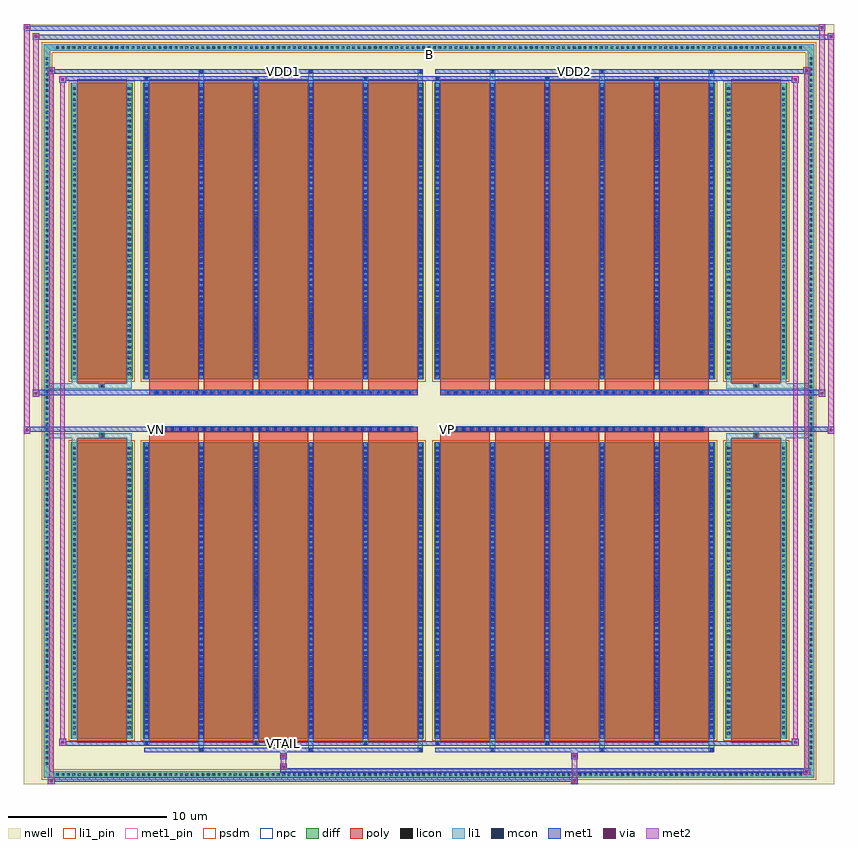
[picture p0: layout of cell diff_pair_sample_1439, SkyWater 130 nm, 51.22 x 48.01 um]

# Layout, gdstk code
import gdstk
lib = gdstk.Library(unit=1e-6, precision=5e-09)
def R(c, l, rs):  # rectangles x0, y0, x1, y1
    for r in rs: c.add(gdstk.rectangle(r[:2], r[2:], *l))
def A(c, l, x, y, w, h, nx, ny, dx, dy):  # array of equal rectangles
    R(c, l, [(x+i*dx, y+j*dy, x+i*dx+w, y+j*dy+h) for i in range(nx) for j in range(ny)])
def P(c, l, *ps):  # polygons
    for p in ps: c.add(gdstk.Polygon(p, *l))
nwell = (64, 20)
diff = (65, 20)
poly = (66, 20)
licon = (66, 44)
li1_pin = (67, 16)
li1 = (67, 20)
mcon = (67, 44)
met1_pin = (68, 16)
met1 = (68, 20)
via = (68, 44)
met2 = (69, 20)
psdm = (94, 20)
npc = (95, 20)

diff_pair_sample_1439 = lib.new_cell('diff_pair_sample_1439')
R(diff_pair_sample_1439, nwell, [(-25.61,-23.57,25.61,24.44), (-22.93,-21.76,-0.01,-0.8), (0.01,-21.76,22.93,-0.8), (-22.93,0.8,-0.01,21.76), (0.01,0.8,22.93,21.76)])
A(diff_pair_sample_1439, diff, -23.665, -23.17, 0.41, 0.41, 139, 2, 0.34, 45.93)
A(diff_pair_sample_1439, diff, -24.34, -22.475, 0.41, 0.41, 1, 132, 0, 0.34)
A(diff_pair_sample_1439, diff, 23.93, -22.475, 0.41, 0.41, 1, 132, 0, 0.34)
R(diff_pair_sample_1439, diff, [(-23.665,-23.17,23.665,-22.76), (-24.34,-22.475,-23.93,22.475), (23.93,-22.475,24.34,22.475), (-22.62,-20.715,-18.71,-1.985), (-18.07,-20.715,-0.32,-1.985), (0.32,-20.715,18.07,-1.985), (18.71,-20.715,22.62,-1.985), (-22.62,1.985,-18.71,20.715), (-18.07,1.985,-0.32,20.715), (0.32,1.985,18.07,20.715), (18.71,1.985,22.62,20.715), (-23.665,22.76,23.665,23.17)])
P(diff_pair_sample_1439, diff, [(24.34,23.17),(-24.34,23.17),(-24.34,-22.76),(-23.93,-22.76),(-23.93,22.76),(23.93,22.76),(23.93,-22.76),(-23.93,-22.76),(-24.34,-22.76),(-24.34,-23.17),(24.34,-23.17)])
A(diff_pair_sample_1439, poly, -17.68, -20.965, 3.13, 19.23, 5, 2, 3.46, 22.7)
A(diff_pair_sample_1439, poly, 0.71, -20.965, 3.13, 19.23, 5, 2, 3.46, 22.7)
A(diff_pair_sample_1439, poly, -17.68, -1.735, 3.13, 0.405, 5, 2, 3.46, 3.065)
A(diff_pair_sample_1439, poly, 0.71, -1.735, 3.13, 0.405, 5, 2, 3.46, 3.065)
A(diff_pair_sample_1439, poly, -17.36, -1.33, 0.33, 0.33, 33, 2, 0.5, 2.33)
A(diff_pair_sample_1439, poly, 1.03, -1.33, 0.33, 0.33, 33, 2, 0.5, 2.33)
R(diff_pair_sample_1439, poly, [(-22.23,-20.965,-19.1,-1.735), (19.1,-20.965,22.23,-1.735), (-20.83,-1.735,-20.5,-1.405), (-20.83,-1.735,-20.5,-1.405), (20.5,-1.735,20.83,-1.405), (20.5,-1.735,20.83,-1.405), (-17.68,-1.33,-0.71,-1), (0.71,-1.33,17.68,-1), (-17.68,1,-0.71,1.33), (0.71,1,17.68,1.33), (-20.83,1.405,-20.5,1.735), (-20.83,1.405,-20.5,1.735), (20.5,1.405,20.83,1.735), (20.5,1.405,20.83,1.735), (-22.23,1.735,-19.1,20.965), (19.1,1.735,22.23,20.965)])
A(diff_pair_sample_1439, licon, -23.545, -23.05, 0.17, 0.17, 139, 2, 0.34, 45.93)
A(diff_pair_sample_1439, licon, -24.22, -22.355, 0.17, 0.17, 1, 132, 0, 0.34)
A(diff_pair_sample_1439, licon, 24.05, -22.355, 0.17, 0.17, 1, 132, 0, 0.34)
A(diff_pair_sample_1439, licon, -22.48, -20.445, 0.17, 0.17, 1, 54, 0, 0.34)
A(diff_pair_sample_1439, licon, -19.02, -20.445, 0.17, 0.17, 1, 54, 0, 0.34)
A(diff_pair_sample_1439, licon, -17.93, -20.445, 0.17, 0.17, 6, 54, 3.46, 0.34)
A(diff_pair_sample_1439, licon, 0.46, -20.445, 0.17, 0.17, 6, 54, 3.46, 0.34)
A(diff_pair_sample_1439, licon, 18.85, -20.445, 0.17, 0.17, 1, 54, 0, 0.34)
A(diff_pair_sample_1439, licon, 22.31, -20.445, 0.17, 0.17, 1, 54, 0, 0.34)
A(diff_pair_sample_1439, licon, -17.28, -1.25, 0.17, 0.17, 33, 2, 0.5, 2.33)
A(diff_pair_sample_1439, licon, 1.11, -1.25, 0.17, 0.17, 33, 2, 0.5, 2.33)
A(diff_pair_sample_1439, licon, -22.48, 2.255, 0.17, 0.17, 1, 54, 0, 0.34)
A(diff_pair_sample_1439, licon, -19.02, 2.255, 0.17, 0.17, 1, 54, 0, 0.34)
A(diff_pair_sample_1439, licon, -17.93, 2.255, 0.17, 0.17, 6, 54, 3.46, 0.34)
A(diff_pair_sample_1439, licon, 0.46, 2.255, 0.17, 0.17, 6, 54, 3.46, 0.34)
A(diff_pair_sample_1439, licon, 18.85, 2.255, 0.17, 0.17, 1, 54, 0, 0.34)
A(diff_pair_sample_1439, licon, 22.31, 2.255, 0.17, 0.17, 1, 54, 0, 0.34)
R(diff_pair_sample_1439, licon, [(-20.75,-1.655,-20.58,-1.485), (20.58,-1.655,20.75,-1.485), (-20.75,1.485,-20.58,1.655), (20.58,1.485,20.75,1.655)])
R(diff_pair_sample_1439, li1_pin, [(-0.25,22.26,0.25,22.76)])
A(diff_pair_sample_1439, li1, -23.625, -23.13, 0.33, 0.33, 139, 2, 0.34, 45.93)
A(diff_pair_sample_1439, li1, -24.3, -22.435, 0.33, 0.33, 1, 132, 0, 0.34)
A(diff_pair_sample_1439, li1, 23.97, -22.435, 0.33, 0.33, 1, 132, 0, 0.34)
A(diff_pair_sample_1439, li1, -14.55, -21.52, 0.33, 0.805, 3, 2, 6.92, 42.235)
A(diff_pair_sample_1439, li1, -14.47, -21.52, 0.17, 0.17, 3, 2, 6.92, 42.87)
A(diff_pair_sample_1439, li1, 3.84, -21.52, 0.33, 0.805, 3, 2, 6.92, 42.235)
A(diff_pair_sample_1439, li1, 3.92, -21.52, 0.17, 0.17, 3, 2, 6.92, 42.87)
A(diff_pair_sample_1439, li1, -18.01, -21.09, 0.33, 0.375, 3, 2, 6.92, 41.805)
A(diff_pair_sample_1439, li1, -17.93, -21.09, 0.17, 0.17, 3, 2, 6.92, 42.01)
A(diff_pair_sample_1439, li1, 0.38, -21.09, 0.33, 0.375, 3, 2, 6.92, 41.805)
A(diff_pair_sample_1439, li1, 0.46, -21.09, 0.17, 0.17, 3, 2, 6.92, 42.01)
A(diff_pair_sample_1439, li1, -18.01, -20.715, 0.33, 18.73, 6, 2, 3.46, 22.7)
A(diff_pair_sample_1439, li1, 0.38, -20.715, 0.33, 18.73, 6, 2, 3.46, 22.7)
A(diff_pair_sample_1439, li1, -22.56, -20.525, 0.33, 0.33, 1, 54, 0, 0.34)
A(diff_pair_sample_1439, li1, -19.1, -20.525, 0.33, 0.33, 1, 54, 0, 0.34)
A(diff_pair_sample_1439, li1, -18.01, -20.525, 0.33, 0.33, 6, 54, 3.46, 0.34)
A(diff_pair_sample_1439, li1, 0.38, -20.525, 0.33, 0.33, 6, 54, 3.46, 0.34)
A(diff_pair_sample_1439, li1, 18.77, -20.525, 0.33, 0.33, 1, 54, 0, 0.34)
A(diff_pair_sample_1439, li1, 22.23, -20.525, 0.33, 0.33, 1, 54, 0, 0.34)
A(diff_pair_sample_1439, li1, -17.93, -20.435, 0.17, 0.17, 6, 51, 3.46, 0.36)
A(diff_pair_sample_1439, li1, -17.93, -20.435, 0.17, 18.17, 6, 2, 3.46, 22.7)
A(diff_pair_sample_1439, li1, 0.46, -20.435, 0.17, 0.17, 6, 51, 3.46, 0.36)
A(diff_pair_sample_1439, li1, 0.46, -20.435, 0.17, 18.17, 6, 2, 3.46, 22.7)
A(diff_pair_sample_1439, li1, -17.36, -1.33, 0.33, 0.33, 33, 2, 0.5, 2.33)
A(diff_pair_sample_1439, li1, 1.03, -1.33, 0.33, 0.33, 33, 2, 0.5, 2.33)
A(diff_pair_sample_1439, li1, -22.56, 2.175, 0.33, 0.33, 1, 54, 0, 0.34)
A(diff_pair_sample_1439, li1, -19.1, 2.175, 0.33, 0.33, 1, 54, 0, 0.34)
A(diff_pair_sample_1439, li1, -18.01, 2.175, 0.33, 0.33, 6, 54, 3.46, 0.34)
A(diff_pair_sample_1439, li1, 0.38, 2.175, 0.33, 0.33, 6, 54, 3.46, 0.34)
A(diff_pair_sample_1439, li1, 18.77, 2.175, 0.33, 0.33, 1, 54, 0, 0.34)
A(diff_pair_sample_1439, li1, 22.23, 2.175, 0.33, 0.33, 1, 54, 0, 0.34)
A(diff_pair_sample_1439, li1, -17.93, 2.265, 0.17, 0.17, 6, 51, 3.46, 0.36)
A(diff_pair_sample_1439, li1, 0.46, 2.265, 0.17, 0.17, 6, 51, 3.46, 0.36)
R(diff_pair_sample_1439, li1, [(-24.34,-23.17,-23.93,-22.76), (-24.34,-23.17,-23.93,-22.76), (-23.93,-23.17,23.93,-22.76), (23.93,-23.17,24.34,-22.76), (23.93,-23.17,24.34,-22.76), (-24.34,-22.76,-23.93,22.76), (23.93,-22.76,24.34,22.76), (-22.56,-20.715,-22.23,-1.985), (-19.1,-20.715,-18.77,-1.985), (18.77,-20.715,19.1,-1.985), (22.23,-20.715,22.56,-1.985), (-22.56,-1.985,-22.23,-1.405), (-19.1,-1.985,-18.77,-1.405), (18.77,-1.985,19.1,-1.405), (22.23,-1.985,22.56,-1.405), (-24.34,-1.735,-20.83,-1.405), (-22.56,-1.735,-20.83,-1.405), (-20.83,-1.735,-20.5,-1.405), (-20.5,-1.735,-18.77,-1.405), (18.77,-1.735,20.5,-1.405), (20.5,-1.735,20.83,-1.405), (20.5,-1.735,24.34,-1.405), (20.83,-1.735,22.56,-1.405), (-24.34,1.405,-20.83,1.735), (-22.56,1.405,-20.83,1.735), (-22.56,1.405,-22.23,1.985), (-20.83,1.405,-20.5,1.735), (-20.5,1.405,-18.77,1.735), (-19.1,1.405,-18.77,1.985), (18.77,1.405,20.5,1.735), (18.77,1.405,19.1,1.985), (20.5,1.405,20.83,1.735), (20.5,1.405,24.34,1.735), (20.83,1.405,22.56,1.735), (22.23,1.405,22.56,1.985), (-22.56,1.985,-22.23,20.715), (-19.1,1.985,-18.77,20.715), (18.77,1.985,19.1,20.715), (22.23,1.985,22.56,20.715), (-24.34,22.76,-23.93,23.17), (-24.34,22.76,-23.93,23.17), (-23.93,22.76,23.93,23.17), (23.93,22.76,24.34,23.17), (23.93,22.76,24.34,23.17)])
A(diff_pair_sample_1439, mcon, -14.47, -21.52, 0.17, 0.17, 3, 2, 6.92, 42.87)
A(diff_pair_sample_1439, mcon, 3.92, -21.52, 0.17, 0.17, 3, 2, 6.92, 42.87)
A(diff_pair_sample_1439, mcon, -17.93, -21.09, 0.17, 0.17, 3, 2, 6.92, 42.01)
A(diff_pair_sample_1439, mcon, 0.46, -21.09, 0.17, 0.17, 3, 2, 6.92, 42.01)
A(diff_pair_sample_1439, mcon, -17.93, -20.435, 0.17, 0.17, 6, 51, 3.46, 0.36)
A(diff_pair_sample_1439, mcon, 0.46, -20.435, 0.17, 0.17, 6, 51, 3.46, 0.36)
A(diff_pair_sample_1439, mcon, -17.28, -1.25, 0.17, 0.17, 33, 2, 0.5, 2.33)
A(diff_pair_sample_1439, mcon, 1.11, -1.25, 0.17, 0.17, 33, 2, 0.5, 2.33)
A(diff_pair_sample_1439, mcon, -17.93, 2.265, 0.17, 0.17, 6, 51, 3.46, 0.36)
A(diff_pair_sample_1439, mcon, 0.46, 2.265, 0.17, 0.17, 6, 51, 3.46, 0.36)
R(diff_pair_sample_1439, met1_pin, [(-9.33,-21.13,-9.06,-20.86), (-17.33,-1.29,-17.06,-1.02), (1.06,-1.29,1.33,-1.02), (-9.33,21.31,-9.06,21.58), (9.06,21.31,9.33,21.58)])
A(diff_pair_sample_1439, met1, -14.53, -21.58, 0.29, 0.29, 3, 2, 6.92, 42.87)
A(diff_pair_sample_1439, met1, 3.86, -21.58, 0.29, 0.29, 3, 2, 6.92, 42.87)
A(diff_pair_sample_1439, met1, -17.99, -21.15, 0.29, 0.29, 3, 2, 6.92, 42.01)
A(diff_pair_sample_1439, met1, 0.4, -21.15, 0.29, 0.29, 3, 2, 6.92, 42.01)
A(diff_pair_sample_1439, met1, -17.99, -20.715, 0.29, 18.73, 6, 2, 3.46, 22.7)
A(diff_pair_sample_1439, met1, 0.4, -20.715, 0.29, 18.73, 6, 2, 3.46, 22.7)
A(diff_pair_sample_1439, met1, -17.99, -20.495, 0.29, 0.29, 6, 51, 3.46, 0.36)
A(diff_pair_sample_1439, met1, 0.4, -20.495, 0.29, 0.29, 6, 51, 3.46, 0.36)
A(diff_pair_sample_1439, met1, -17.34, -1.31, 0.29, 0.29, 33, 2, 0.5, 2.33)
A(diff_pair_sample_1439, met1, 1.05, -1.31, 0.29, 0.29, 33, 2, 0.5, 2.33)
A(diff_pair_sample_1439, met1, -17.99, 2.205, 0.29, 0.29, 6, 51, 3.46, 0.36)
A(diff_pair_sample_1439, met1, 0.4, 2.205, 0.29, 0.29, 6, 51, 3.46, 0.36)
R(diff_pair_sample_1439, met1, [(-24.07,-23.57,-23.64,-23.14), (8.98,-23.57,9.41,-23.14), (-24.07,-23.43,9.41,-23.14), (23.64,-23,24.07,-22.57), (-9.41,-22.86,24.07,-22.57), (-9.41,-22.72,-8.98,-22.29), (-9.41,-22.01,-8.98,-21.58), (8.98,-22.01,9.41,-21.58), (-17.99,-21.58,-0.4,-21.29), (0.4,-21.58,17.99,-21.29), (-23.36,-21.15,-22.93,-20.72), (-23.36,-21.15,-17.99,-20.86), (-17.99,-21.15,-0.4,-20.86), (-0.4,-21.15,0.4,-20.86), (0.4,-21.15,17.99,-20.86), (17.99,-21.15,23.36,-20.86), (22.93,-21.15,23.36,-20.72), (-25.61,-1.43,-25.18,-1), (25.18,-1.43,25.61,-1), (-25.61,-1.33,-0.71,-1), (-17.68,-1.33,-0.71,-1), (0.71,-1.33,17.68,-1), (0.71,-1.33,25.61,-1), (-25.04,0.9,-24.61,1.33), (24.61,0.9,25.04,1.33), (-25.04,1,-17.68,1.33), (-17.68,1,-0.71,1.33), (0.71,1,17.68,1.33), (17.68,1,25.04,1.33), (-23.36,20.72,-22.93,21.15), (22.93,20.72,23.36,21.15), (-23.36,20.86,-17.99,21.15), (-17.99,20.86,-0.4,21.15), (-0.4,20.86,0.4,21.15), (0.4,20.86,17.99,21.15), (17.99,20.86,23.36,21.15), (-24.07,21.29,-23.64,21.72), (-24.07,21.29,-17.99,21.58), (-17.99,21.29,-0.4,21.58), (0.4,21.29,17.99,21.58), (17.99,21.29,24.07,21.58), (23.64,21.29,24.07,21.72), (-25.04,23.44,-24.61,23.87), (-25.04,23.44,-22.93,23.77), (-22.93,23.44,22.93,23.77), (22.93,23.44,25.61,23.77), (25.18,23.44,25.61,23.87), (-25.61,24.01,-25.18,24.44), (-25.61,24.01,-22.93,24.34), (-22.93,24.01,22.93,24.34), (22.93,24.01,25.04,24.34), (24.61,24.01,25.04,24.44)])
R(diff_pair_sample_1439, via, [(-23.93,-23.43,-23.78,-23.28), (9.12,-23.43,9.27,-23.28), (23.78,-22.86,23.93,-22.71), (-9.27,-22.58,-9.12,-22.43), (-9.27,-21.87,-9.12,-21.72), (9.12,-21.87,9.27,-21.72), (-23.22,-21.01,-23.07,-20.86), (23.07,-21.01,23.22,-20.86), (-25.47,-1.29,-25.32,-1.14), (25.32,-1.29,25.47,-1.14), (-24.9,1.04,-24.75,1.19), (24.75,1.04,24.9,1.19), (-23.22,20.86,-23.07,21.01), (23.07,20.86,23.22,21.01), (-23.93,21.43,-23.78,21.58), (23.78,21.43,23.93,21.58), (-24.9,23.58,-24.75,23.73), (25.32,23.58,25.47,23.73), (-25.47,24.15,-25.32,24.3), (24.75,24.15,24.9,24.3)])
R(diff_pair_sample_1439, met2, [(-24.07,-23.57,-23.64,-23.14), (-24,-23.57,-23.71,21.72), (-23.71,-23.57,-23.64,-23.14), (-24.02,-23.52,-23.69,-23.19), (9.03,-23.52,9.36,-23.19), (9.03,-23.19,9.36,-21.96), (23.64,-23,24.07,-22.57), (23.71,-23,24,21.72), (24,-23,24.07,-22.57), (23.69,-22.95,24.02,-22.62), (-9.36,-22.67,-9.03,-22.34), (-9.36,-22.34,-9.03,-21.96), (-9.36,-21.96,-9.03,-21.63), (9.03,-21.96,9.36,-21.63), (-23.36,-21.15,-22.93,-20.72), (-23.29,-21.15,-23,21.15), (-23,-21.15,-22.93,-20.72), (22.93,-21.15,23.36,-20.72), (23,-21.15,23.29,21.15), (23.29,-21.15,23.36,-20.72), (-23.31,-21.1,-22.98,-20.77), (22.98,-21.1,23.31,-20.77), (-25.61,-1.43,-25.18,-1), (-25.56,-1.43,-25.23,24.44), (-25.23,-1.43,-25.18,-1), (25.18,-1.43,25.61,-1), (25.23,-1.43,25.56,23.87), (25.56,-1.43,25.61,-1), (-25.56,-1.38,-25.23,-1.05), (25.23,-1.38,25.56,-1.05), (-25.04,0.9,-24.61,1.33), (-24.99,0.9,-24.66,23.87), (-24.66,0.9,-24.61,1.33), (24.61,0.9,25.04,1.33), (24.66,0.9,24.99,24.44), (24.99,0.9,25.04,1.33), (-24.99,0.95,-24.66,1.28), (24.66,0.95,24.99,1.28), (-23.36,20.72,-22.93,21.15), (-23,20.72,-22.93,21.15), (22.93,20.72,23.36,21.15), (23.29,20.72,23.36,21.15), (-23.31,20.77,-22.98,21.1), (22.98,20.77,23.31,21.1), (-24.07,21.29,-23.64,21.72), (-23.71,21.29,-23.64,21.72), (23.64,21.29,24.07,21.72), (24,21.29,24.07,21.72), (-24.02,21.34,-23.69,21.67), (23.69,21.34,24.02,21.67), (-25.04,23.44,-24.61,23.87), (-24.66,23.44,-24.61,23.87), (25.18,23.44,25.61,23.87), (25.56,23.44,25.61,23.87), (-24.99,23.49,-24.66,23.82), (25.23,23.49,25.56,23.82), (-25.61,24.01,-25.18,24.44), (-25.23,24.01,-25.18,24.44), (24.61,24.01,25.04,24.44), (24.99,24.01,25.04,24.44), (-25.56,24.06,-25.23,24.39), (24.66,24.06,24.99,24.39)])
R(diff_pair_sample_1439, psdm, [(-22.75,-20.845,-18.58,-1.855), (-18.2,-20.845,-0.19,-1.855), (0.19,-20.845,18.2,-1.855), (18.58,-20.845,22.75,-1.855), (-22.75,1.855,-18.58,20.845), (-18.2,1.855,-0.19,20.845), (0.19,1.855,18.2,20.845), (18.58,1.855,22.75,20.845)])
P(diff_pair_sample_1439, psdm, [(24.47,23.3),(-24.47,23.3),(-24.47,-22.63),(-23.8,-22.63),(-23.8,22.63),(23.8,22.63),(23.8,-22.63),(-23.8,-22.63),(-24.47,-22.63),(-24.47,-23.3),(24.47,-23.3)])
A(diff_pair_sample_1439, npc, -17.38, -1.35, 0.37, 0.37, 33, 2, 0.5, 2.33)
A(diff_pair_sample_1439, npc, 1.01, -1.35, 0.37, 0.37, 33, 2, 0.5, 2.33)
R(diff_pair_sample_1439, npc, [(-20.85,-1.755,-20.48,-1.385), (20.48,-1.755,20.85,-1.385), (-17.38,-1.35,-16.51,-0.98), (-17.38,-1.35,-16.51,-0.98), (-16.88,-1.35,-16.01,-0.98), (-16.88,-1.35,-16.01,-0.98), (-16.38,-1.35,-15.51,-0.98), (-16.38,-1.35,-15.51,-0.98), (-15.88,-1.35,-15.01,-0.98), (-15.88,-1.35,-15.01,-0.98), (-15.38,-1.35,-14.51,-0.98), (-15.38,-1.35,-14.51,-0.98), (-14.88,-1.35,-14.01,-0.98), (-14.88,-1.35,-14.01,-0.98), (-14.38,-1.35,-13.51,-0.98), (-14.38,-1.35,-13.51,-0.98), (-13.88,-1.35,-13.01,-0.98), (-13.88,-1.35,-13.01,-0.98), (-13.38,-1.35,-12.51,-0.98), (-13.38,-1.35,-12.51,-0.98), (-12.88,-1.35,-12.01,-0.98), (-12.88,-1.35,-12.01,-0.98), (-12.38,-1.35,-11.51,-0.98), (-12.38,-1.35,-11.51,-0.98), (-11.88,-1.35,-11.01,-0.98), (-11.88,-1.35,-11.01,-0.98), (-11.38,-1.35,-10.51,-0.98), (-11.38,-1.35,-10.51,-0.98), (-10.88,-1.35,-10.01,-0.98), (-10.88,-1.35,-10.01,-0.98), (-10.38,-1.35,-9.51,-0.98), (-10.38,-1.35,-9.51,-0.98), (-9.88,-1.35,-9.01,-0.98), (-9.88,-1.35,-9.01,-0.98), (-9.38,-1.35,-8.51,-0.98), (-9.38,-1.35,-8.51,-0.98), (-8.88,-1.35,-8.01,-0.98), (-8.88,-1.35,-8.01,-0.98), (-8.38,-1.35,-7.51,-0.98), (-8.38,-1.35,-7.51,-0.98), (-7.88,-1.35,-7.01,-0.98), (-7.88,-1.35,-7.01,-0.98), (-7.38,-1.35,-6.51,-0.98), (-7.38,-1.35,-6.51,-0.98), (-6.88,-1.35,-6.01,-0.98), (-6.88,-1.35,-6.01,-0.98), (-6.38,-1.35,-5.51,-0.98), (-6.38,-1.35,-5.51,-0.98), (-5.88,-1.35,-5.01,-0.98), (-5.88,-1.35,-5.01,-0.98), (-5.38,-1.35,-4.51,-0.98), (-5.38,-1.35,-4.51,-0.98), (-4.88,-1.35,-4.01,-0.98), (-4.88,-1.35,-4.01,-0.98), (-4.38,-1.35,-3.51,-0.98), (-4.38,-1.35,-3.51,-0.98), (-3.88,-1.35,-3.01,-0.98), (-3.88,-1.35,-3.01,-0.98), (-3.38,-1.35,-2.51,-0.98), (-3.38,-1.35,-2.51,-0.98), (-2.88,-1.35,-2.01,-0.98), (-2.88,-1.35,-2.01,-0.98), (-2.38,-1.35,-1.51,-0.98), (-2.38,-1.35,-1.51,-0.98), (-1.88,-1.35,-1.01,-0.98), (-1.88,-1.35,-1.01,-0.98), (1.01,-1.35,1.88,-0.98), (1.01,-1.35,1.88,-0.98), (1.51,-1.35,2.38,-0.98), (1.51,-1.35,2.38,-0.98), (2.01,-1.35,2.88,-0.98), (2.01,-1.35,2.88,-0.98), (2.51,-1.35,3.38,-0.98), (2.51,-1.35,3.38,-0.98), (3.01,-1.35,3.88,-0.98), (3.01,-1.35,3.88,-0.98), (3.51,-1.35,4.38,-0.98), (3.51,-1.35,4.38,-0.98), (4.01,-1.35,4.88,-0.98), (4.01,-1.35,4.88,-0.98), (4.51,-1.35,5.38,-0.98), (4.51,-1.35,5.38,-0.98), (5.01,-1.35,5.88,-0.98), (5.01,-1.35,5.88,-0.98), (5.51,-1.35,6.38,-0.98), (5.51,-1.35,6.38,-0.98), (6.01,-1.35,6.88,-0.98), (6.01,-1.35,6.88,-0.98), (6.51,-1.35,7.38,-0.98), (6.51,-1.35,7.38,-0.98), (7.01,-1.35,7.88,-0.98), (7.01,-1.35,7.88,-0.98), (7.51,-1.35,8.38,-0.98), (7.51,-1.35,8.38,-0.98), (8.01,-1.35,8.88,-0.98), (8.01,-1.35,8.88,-0.98), (8.51,-1.35,9.38,-0.98), (8.51,-1.35,9.38,-0.98), (9.01,-1.35,9.88,-0.98), (9.01,-1.35,9.88,-0.98), (9.51,-1.35,10.38,-0.98), (9.51,-1.35,10.38,-0.98), (10.01,-1.35,10.88,-0.98), (10.01,-1.35,10.88,-0.98), (10.51,-1.35,11.38,-0.98), (10.51,-1.35,11.38,-0.98), (11.01,-1.35,11.88,-0.98), (11.01,-1.35,11.88,-0.98), (11.51,-1.35,12.38,-0.98), (11.51,-1.35,12.38,-0.98), (12.01,-1.35,12.88,-0.98), (12.01,-1.35,12.88,-0.98), (12.51,-1.35,13.38,-0.98), (12.51,-1.35,13.38,-0.98), (13.01,-1.35,13.88,-0.98), (13.01,-1.35,13.88,-0.98), (13.51,-1.35,14.38,-0.98), (13.51,-1.35,14.38,-0.98), (14.01,-1.35,14.88,-0.98), (14.01,-1.35,14.88,-0.98), (14.51,-1.35,15.38,-0.98), (14.51,-1.35,15.38,-0.98), (15.01,-1.35,15.88,-0.98), (15.01,-1.35,15.88,-0.98), (15.51,-1.35,16.38,-0.98), (15.51,-1.35,16.38,-0.98), (16.01,-1.35,16.88,-0.98), (16.01,-1.35,16.88,-0.98), (16.51,-1.35,17.38,-0.98), (16.51,-1.35,17.38,-0.98), (-17.38,0.98,-16.51,1.35), (-17.38,0.98,-16.51,1.35), (-16.88,0.98,-16.01,1.35), (-16.88,0.98,-16.01,1.35), (-16.38,0.98,-15.51,1.35), (-16.38,0.98,-15.51,1.35), (-15.88,0.98,-15.01,1.35), (-15.88,0.98,-15.01,1.35), (-15.38,0.98,-14.51,1.35), (-15.38,0.98,-14.51,1.35), (-14.88,0.98,-14.01,1.35), (-14.88,0.98,-14.01,1.35), (-14.38,0.98,-13.51,1.35), (-14.38,0.98,-13.51,1.35), (-13.88,0.98,-13.01,1.35), (-13.88,0.98,-13.01,1.35), (-13.38,0.98,-12.51,1.35), (-13.38,0.98,-12.51,1.35), (-12.88,0.98,-12.01,1.35), (-12.88,0.98,-12.01,1.35), (-12.38,0.98,-11.51,1.35), (-12.38,0.98,-11.51,1.35), (-11.88,0.98,-11.01,1.35), (-11.88,0.98,-11.01,1.35), (-11.38,0.98,-10.51,1.35), (-11.38,0.98,-10.51,1.35), (-10.88,0.98,-10.01,1.35), (-10.88,0.98,-10.01,1.35), (-10.38,0.98,-9.51,1.35), (-10.38,0.98,-9.51,1.35), (-9.88,0.98,-9.01,1.35), (-9.88,0.98,-9.01,1.35), (-9.38,0.98,-8.51,1.35), (-9.38,0.98,-8.51,1.35), (-8.88,0.98,-8.01,1.35), (-8.88,0.98,-8.01,1.35), (-8.38,0.98,-7.51,1.35), (-8.38,0.98,-7.51,1.35), (-7.88,0.98,-7.01,1.35), (-7.88,0.98,-7.01,1.35), (-7.38,0.98,-6.51,1.35), (-7.38,0.98,-6.51,1.35), (-6.88,0.98,-6.01,1.35), (-6.88,0.98,-6.01,1.35), (-6.38,0.98,-5.51,1.35), (-6.38,0.98,-5.51,1.35), (-5.88,0.98,-5.01,1.35), (-5.88,0.98,-5.01,1.35), (-5.38,0.98,-4.51,1.35), (-5.38,0.98,-4.51,1.35), (-4.88,0.98,-4.01,1.35), (-4.88,0.98,-4.01,1.35), (-4.38,0.98,-3.51,1.35), (-4.38,0.98,-3.51,1.35), (-3.88,0.98,-3.01,1.35), (-3.88,0.98,-3.01,1.35), (-3.38,0.98,-2.51,1.35), (-3.38,0.98,-2.51,1.35), (-2.88,0.98,-2.01,1.35), (-2.88,0.98,-2.01,1.35), (-2.38,0.98,-1.51,1.35), (-2.38,0.98,-1.51,1.35), (-1.88,0.98,-1.01,1.35), (-1.88,0.98,-1.01,1.35), (1.01,0.98,1.88,1.35), (1.01,0.98,1.88,1.35), (1.51,0.98,2.38,1.35), (1.51,0.98,2.38,1.35), (2.01,0.98,2.88,1.35), (2.01,0.98,2.88,1.35), (2.51,0.98,3.38,1.35), (2.51,0.98,3.38,1.35), (3.01,0.98,3.88,1.35), (3.01,0.98,3.88,1.35), (3.51,0.98,4.38,1.35), (3.51,0.98,4.38,1.35), (4.01,0.98,4.88,1.35), (4.01,0.98,4.88,1.35), (4.51,0.98,5.38,1.35), (4.51,0.98,5.38,1.35), (5.01,0.98,5.88,1.35), (5.01,0.98,5.88,1.35), (5.51,0.98,6.38,1.35), (5.51,0.98,6.38,1.35), (6.01,0.98,6.88,1.35), (6.01,0.98,6.88,1.35), (6.51,0.98,7.38,1.35), (6.51,0.98,7.38,1.35), (7.01,0.98,7.88,1.35), (7.01,0.98,7.88,1.35), (7.51,0.98,8.38,1.35), (7.51,0.98,8.38,1.35), (8.01,0.98,8.88,1.35), (8.01,0.98,8.88,1.35), (8.51,0.98,9.38,1.35), (8.51,0.98,9.38,1.35), (9.01,0.98,9.88,1.35), (9.01,0.98,9.88,1.35), (9.51,0.98,10.38,1.35), (9.51,0.98,10.38,1.35), (10.01,0.98,10.88,1.35), (10.01,0.98,10.88,1.35), (10.51,0.98,11.38,1.35), (10.51,0.98,11.38,1.35), (11.01,0.98,11.88,1.35), (11.01,0.98,11.88,1.35), (11.51,0.98,12.38,1.35), (11.51,0.98,12.38,1.35), (12.01,0.98,12.88,1.35), (12.01,0.98,12.88,1.35), (12.51,0.98,13.38,1.35), (12.51,0.98,13.38,1.35), (13.01,0.98,13.88,1.35), (13.01,0.98,13.88,1.35), (13.51,0.98,14.38,1.35), (13.51,0.98,14.38,1.35), (14.01,0.98,14.88,1.35), (14.01,0.98,14.88,1.35), (14.51,0.98,15.38,1.35), (14.51,0.98,15.38,1.35), (15.01,0.98,15.88,1.35), (15.01,0.98,15.88,1.35), (15.51,0.98,16.38,1.35), (15.51,0.98,16.38,1.35), (16.01,0.98,16.88,1.35), (16.01,0.98,16.88,1.35), (16.51,0.98,17.38,1.35), (16.51,0.98,17.38,1.35), (-20.85,1.385,-20.48,1.755), (20.48,1.385,20.85,1.755)])
diff_pair_sample_1439.add(gdstk.Label('VTAIL', (-9.195,-20.995), layer=68, texttype=5))
diff_pair_sample_1439.add(gdstk.Label('VN', (-17.195,-1.155), layer=68, texttype=5))
diff_pair_sample_1439.add(gdstk.Label('VP', (1.195,-1.155), layer=68, texttype=5))
diff_pair_sample_1439.add(gdstk.Label('B', (0,22.51), layer=67, texttype=5))
diff_pair_sample_1439.add(gdstk.Label('VDD2', (9.195,21.445), layer=68, texttype=5))
diff_pair_sample_1439.add(gdstk.Label('VDD1', (-9.195,21.445), layer=68, texttype=5))

lib.write_gds('diff_pair_sample_1439.gds')
